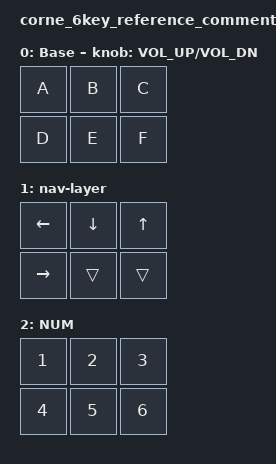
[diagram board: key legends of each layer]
#include <behaviors.dtsi>
#include <dt-bindings/zmk/keys.h>

/ {
    keymap {
        compatible = "zmk,keymap";

        // Letters on the base layer.
        base {
            display-name = "Base";
            bindings = <
    &kp A      &kp B     &kp C
    &kp D      &kp E     &kp F
            >;
            sensor-bindings = <&inc_dec_kp C_VOL_UP C_VOL_DN>;
        };

        /* Arrows, held from the base layer. */
        nav-layer {
            bindings = <
    &kp LEFT   &kp DOWN  &kp UP
    &kp RIGHT  &trans    &trans
            >;
        };

        // gaming {
        //     bindings = <&kp W &kp A &kp S &kp D &trans &trans>;
        // };

        numbers {
            label = "NUM";
            bindings = <
    &kp N1     &kp N2    &kp N3
    &kp N4     &kp N5    &kp N6
            >;
        };
    };
};
